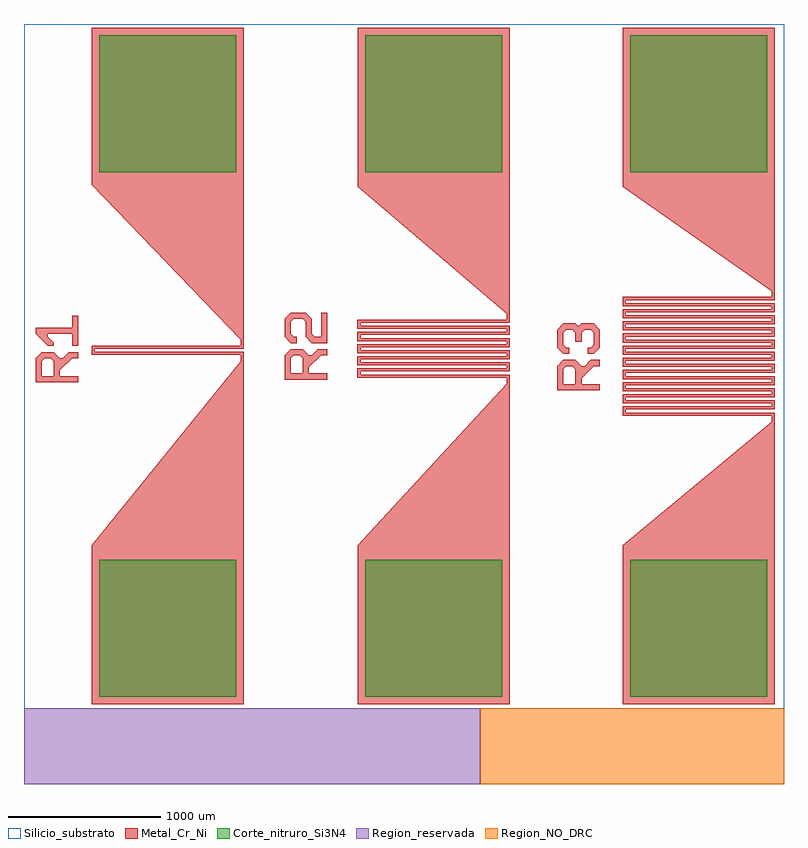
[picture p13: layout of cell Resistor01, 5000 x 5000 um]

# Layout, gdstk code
from math import pi, radians
import gdstk
lib = gdstk.Library(unit=1e-6, precision=1e-06)
def R(c, l, rs):  # rectangles x0, y0, x1, y1
    for r in rs: c.add(gdstk.rectangle(r[:2], r[2:], *l))
def P(c, l, *ps):  # polygons
    for p in ps: c.add(gdstk.Polygon(p, *l))
Silicio_substrato = (1, 1)
Region_reservada = (1, 2)
Region_NO_DRC = (1, 3)
Metal_Cr_Ni = (2, 0)
Corte_nitruro_Si3N4 = (3, 0)

text_21 = lib.new_cell('TEXT$21')
P(text_21, Metal_Cr_Ni, [(0,0),(0,280),(160,280),(200,240),(40,240),(40,160),(140,160),(160,180),(160,220),(140,240),(200,240),(200,160),(160,120),(160,100),(200,60),(200,0),(160,0),(160,40),(80,120),(40,120),(40,0)],
  [(240,0),(240,100),(280,140),(380,140),(400,160),(400,220),(380,240),(300,240),(280,220),(280,200),(240,200),(240,240),(280,280),(400,280),(440,240),(440,140),(400,100),(300,100),(280,80),(280,40),(440,40),(440,0)])

text_22 = lib.new_cell('TEXT$22')
P(text_22, Metal_Cr_Ni, [(0,0),(0,280),(160,280),(200,240),(40,240),(40,160),(140,160),(160,180),(160,220),(140,240),(200,240),(200,160),(160,120),(160,100),(200,60),(200,0),(160,0),(160,40),(80,120),(40,120),(40,0)],
  [(280,0),(240,40),(240,80),(280,80),(280,60),(300,40),(380,40),(400,60),(400,100),(380,120),(320,120),(320,160),(380,160),(400,180),(400,220),(380,240),(300,240),(280,220),(280,200),(240,200),(240,240),(280,280),(400,280),(440,240),(440,160),(420,140),(440,120),(440,40),(400,0)])

text_16 = lib.new_cell('TEXT$16')
P(text_16, Metal_Cr_Ni, [(0,0),(0,280),(160,280),(200,240),(40,240),(40,160),(140,160),(160,180),(160,220),(140,240),(200,240),(200,160),(160,120),(160,100),(200,60),(200,0),(160,0),(160,40),(80,120),(40,120),(40,0)],
  [(240,0),(240,40),(320,40),(320,200),(300,200),(260,160),(240,160),(240,200),(320,280),(360,280),(360,40),(440,40),(440,0)])

resistor01 = lib.new_cell('Resistor01')
R(resistor01, Silicio_substrato, [(0,0,5000,5000)])
R(resistor01, Region_reservada, [(0,0,3000,500)])
R(resistor01, Region_NO_DRC, [(3000,0,5000,500)])
P(resistor01, Metal_Cr_Ni, [(2195,525),(2195,1570),(3175,2633),(3175,2674),(2194,2674),(2194,2734),(3175,2734),(3175,2754),(2194,2754),(2194,2814),(3175,2814),(3175,2834),(2194,2834),(2194,2894),(3175,2894),(3175,2914),(2194,2914),(2194,2974),(3175,2974),(3175,2994),(2194,2994),(2194,3054),(3175,3054),(3175,3094),(2195,3930),(2195,4975),(3195,4975),(3195,3034),(2214,3034),(2214,3014),(3195,3014),(3195,2954),(2214,2954),(2214,2934),(3195,2934),(3195,2874),(2214,2874),(2214,2854),(3195,2854),(3195,2794),(2214,2794),(2214,2774),(3195,2774),(3195,2714),(2214,2714),(2214,2694),(3195,2694),(3195,525)],
  [(3940,525),(3940,1570),(4920,2384),(4920,2424),(3940,2424),(3940,2484),(4920,2484),(4920,2504),(3940,2504),(3940,2564),(4920,2564),(4920,2584),(3940,2584),(3940,2644),(4920,2644),(4920,2664),(3940,2664),(3940,2724),(4920,2724),(4920,2744),(3940,2744),(3940,2804),(4920,2804),(4920,2824),(3940,2824),(3940,2884),(4920,2884),(4920,2904),(3940,2904),(3940,2964),(4920,2964),(4920,2984),(3940,2984),(3940,3044),(4920,3044),(4920,3064),(3940,3064),(3940,3124),(4920,3124),(4920,3144),(3940,3144),(3940,3204),(4920,3204),(4920,3243),(3940,3930),(3940,4975),(4940,4975),(4940,3184),(3960,3184),(3960,3164),(4940,3164),(4940,3104),(3960,3104),(3960,3084),(4940,3084),(4940,3024),(3960,3024),(3960,3004),(4940,3004),(4940,2944),(3960,2944),(3960,2924),(4940,2924),(4940,2864),(3960,2864),(3960,2844),(4940,2844),(4940,2784),(3960,2784),(3960,2764),(4940,2764),(4940,2704),(3960,2704),(3960,2684),(4940,2684),(4940,2624),(3960,2624),(3960,2604),(4940,2604),(4940,2544),(3960,2544),(3960,2524),(4940,2524),(4940,2464),(3960,2464),(3960,2444),(4940,2444),(4940,525)],
  [(445,525),(445,1570),(1425,2782),(1425,2824),(445,2824),(445,2884),(1425,2884),(1425,2923),(445,3942),(445,4975),(1445,4975),(1445,2864),(465,2864),(465,2844),(1445,2844),(1445,525)])
R(resistor01, Corte_nitruro_Si3N4, [(495,575,1395,1475), (495,575,1395,1475), (2245,575,3145,1475), (2245,575,3145,1475), (3990,575,4890,1475), (3990,575,4890,1475), (495,4025,1395,4925), (495,4025,1395,4925), (2245,4025,3145,4925), (2245,4025,3145,4925), (3990,4025,4890,4925), (3990,4025,4890,4925)])
resistor01.add(gdstk.Reference(text_21, (1994,2661), rotation=pi/2))
resistor01.add(gdstk.Reference(text_22, (3788,2590), rotation=pi/2))
resistor01.add(gdstk.Reference(text_16, (356,2642), rotation=pi/2))

lib.write_gds('Resistor01.gds')
